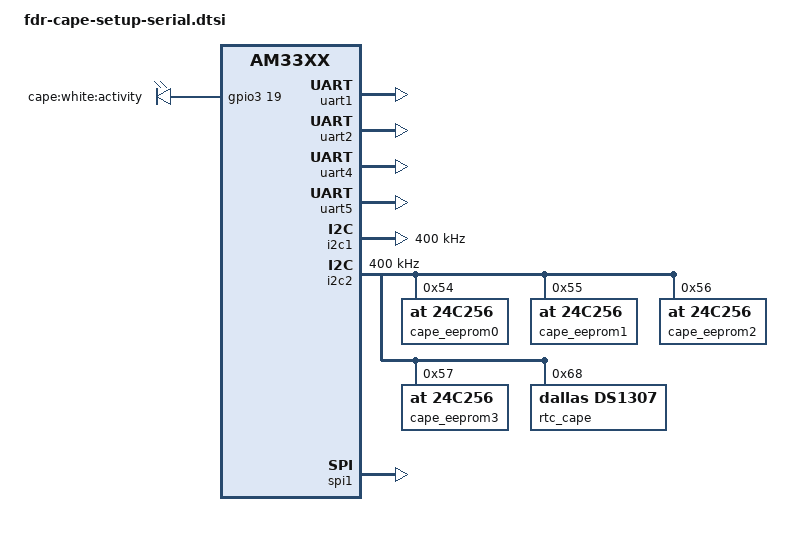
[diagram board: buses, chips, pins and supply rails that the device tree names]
#include "am33xx.dtsi"
#include "am335x-bone-common.dtsi"

&am33xx_pinmux {

		capeled_pins: pinmux_capeled_pins {
			pinctrl-single,pins = <
				0x1a4 0x7	/* gpio3_19 Cape led */
			>;
		};
		ctrl_pins: pinmux_ctrl_pins {
			pinctrl-single,pins = <
				0x3c  0xf	/* gpio1_15 Reset cards      | OUTPUT | NA | MODE7 */
				0x1ac 0xf	/* gpio3_21 Reset clock mcu  | OUTPUT | NA | MODE7 */
			>;
		};
		spi_cs_pins: pinmux_spi_cs_pins {
			pinctrl-single,pins = <
				0x48 0x17	/* gpio1_18 C0 | OUTPUT | PULLUP| MODE7 */
				0x4c 0x17	/* gpio1_19 C1 | OUTPUT | PULLUP| MODE7 */
				0x78 0x17	/* gpio1_28 C2 | OUTPUT | PULLUP| MODE7 */
			>;
		};
		timing_pins: pinmux_timing_pins {
			pinctrl-single,pins = <
				0x44 0x27	/* gpio1_17 sync in 100Hz   | INPUT  | PULLDOWN |   */
				0x40 0x3f	/* gpio1_16 1pps in         | INPUT  | EXT PULLUP | */
				0x34 0x7	/* gpio1_13 sync out 100 Hz | OUTPUT | PULLDOWN |   */
			>;
		};
		uart1_pins: pinmux_uart1_pins {
			pinctrl-single,pins = <
				0x180 0x20 	/* P9.26 uart1_rxd.uart1_rxd |  INPUT  | MODE0 */
				0x184 0x0 	/* P9.24 uart1_txd.uart1_txd | OUTPUT  | MODE0 */
			>;
		};
		uart2_pins: pinmux_uart2_pins {
			pinctrl-single,pins = <
				0x150 0x21	/* spi0_sclk.uart2_rxd 		 | INPUT  | MODE1 */
				0x154 0x01	/* spi0_d0.uart2_txd 		 | OUTPUT | MODE1 */
			>;
		};
		uart4_pins: pinmux_uart4_pins {
			pinctrl-single,pins = <
				0x070 0x26	/* gpmc_wait0.uart4_rxd 	 | MODE6 */
				0x074 0x06	/* gpmc_wpn.uart4_txd 		 | MODE6 */
			>;
		};
		uart5_pins: pinmux_uart5_pins {
			pinctrl-single,pins = <
				0x0C4 0x24	/* lcd_data9.uart5_rxd 		 | MODE4 */
				0x0C0 0x04	/* lcd_data8.uart5_txd 		 | MODE4 */
			>;
		};

		i2c1_pins: pinmux_i2c1_pins {
			pinctrl-single,pins = <
				0x158 0x72	/* spi0_d1.i2c1_sda, SLEWCTRL_SLOW | INPUT_PULLUP | MODE2 */
				0x15c 0x72	/* spi0_cs0.i2c1_scl, SLEWCTRL_SLOW | INPUT_PULLUP | MODE2 */
			>;
		};
		
		i2c2_pins: pinmux_i2c2_pins {
			pinctrl-single,pins = <
				0x178 0x73 	/* uart1_ctsn.i2c2_sda, SLEWCTRL_SLOW | INPUT_PULLUP | MODE3 */
				0x17c 0x73	/* uart1_rtsn.i2c2_scl, SLEWCTRL_SLOW | INPUT_PULLUP | MODE3 */
			>;
		};
		
		spi1_pins: pinmux_spi1_pins {
				pinctrl-single,pins = <
				0x190 0x33	/* spi1_sclk, INPUT_PULLUP | MODE3 */
				0x194 0x33	/* spi1_d0, INPUT_PULLUP | MODE3 */
				0x198 0x13	/* spi1_d1, OUTPUT_PULLUP | MODE3 */
				0x19c 0x13	/* spi1_cs0, OUTPUT_PULLUP | MODE3 */
			>;
		};
	};
		
&ocp {

		cape-leds {
			compatible = "gpio-leds";
			pinctrl-names = "default";
			pinctrl-0 = <&capeled_pins>;
			
			led0 {
				label = "cape:white:activity";
				gpios = <&gpio3 19 0>;
				default-state = "off";
				linux,default-trigger = "heartbeat";
			};
		};
		
		ctrl-pins {
			compatible = "bone-pinmux-helper";
			pinctrl-names = "default";
			pinctrl-0 = <&ctrl_pins>;
			status = "okay";
		};
		cs-sel-pins {
			compatible = "bone-pinmux-helper";
			pinctrl-names = "default";
			pinctrl-0 = <&spi_cs_pins>;
			status = "okay";
		};
		timing-pins {
			compatible = "bone-pinmux-helper";
			pinctrl-names = "default";
			pinctrl-0 = <&timing_pins>;
			status = "okay";
		};
};

&rtc {
	status = "disabled";
};

&uart1 {
	status = "okay";
	pinctrl-names = "default";
	pinctrl-0 = <&uart1_pins>;
};

&uart2 {
	status = "okay";
	pinctrl-names = "default";
	pinctrl-0 = <&uart2_pins>;
};

&uart4 {
	status = "okay";
	pinctrl-names = "default";
	pinctrl-0 = <&uart4_pins>;
};

&uart5 {	
	status = "okay";
	pinctrl-names = "default";
	pinctrl-0 = <&uart5_pins>;
};



&i2c1 {
	status = "okay";
	pinctrl-names = "default";
	pinctrl-0 = <&i2c1_pins>;
	
	clock-frequency = <400000>;
	
};

&i2c2 {
	status = "okay";
	pinctrl-names = "default";
	pinctrl-0 = <&i2c2_pins>;

	clock-frequency = <400000>;

	cape_eeprom0: cape_eeprom0@54 {
		compatible = "at,24c256";
		reg = <0x54>;
	};

	cape_eeprom1: cape_eeprom1@55 {
		compatible = "at,24c256";
		reg = <0x55>;
	};

	cape_eeprom2: cape_eeprom2@56 {
		compatible = "at,24c256";
		reg = <0x56>;
	};

	cape_eeprom3: cape_eeprom3@57 {
		compatible = "at,24c256";
		reg = <0x57>;
	};
	
	rtc_cape: rtc@68 {
		compatible = "dallas,ds1307";
		reg = <0x68>;
	};
};

&spi1 {	
	status = "okay";
	pinctrl-names = "default";
	pinctrl-0 = <&spi1_pins>;


	channel@0 {
		#address-cells = <1>;
		#size-cells = <0>;

		compatible = "spidev";

		reg = <0>;
		spi-max-frequency = <16000000>;
		spi-cpha;
	};


	channel@1 {
		#address-cells = <1>;
		#size-cells = <0>;

		compatible = "spidev";

		reg = <1>;
		spi-max-frequency = <16000000>;
	};
};
